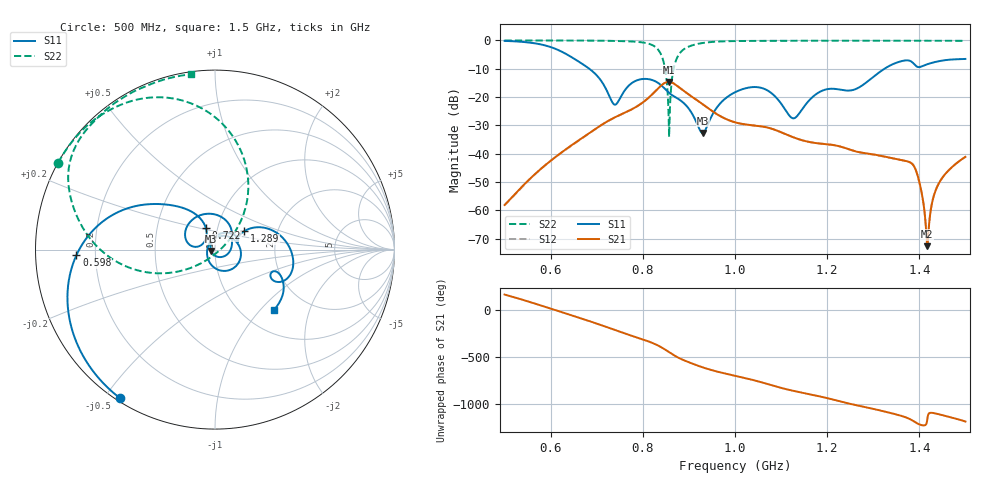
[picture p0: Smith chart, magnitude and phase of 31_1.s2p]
! TOUCHSTONE file generated by CST MICROWAVE STUDIO
! Date and time: Fri Oct  2 18:06:46 2020
! Project name: Scenario_1_Free_Space_out_of_line.cst
! Parameters = {Lambda=346.42; Step_1=17.321; dy1=-172.59; dx1=173; L_HA=400; MT=2.54; Rad_Dielectric=30; Rad_Lower=7.3; Rad_Upper=30; a_HA=580; a_WG=246; b_HA=500; b_WG=121; c_HA=0; c_WG=187; d_feed=85; h_feed=15; h_lower=18; h_upper=40}
! Header version: 2018
! Port assignment regex: !\s*Touchstone port\s*([0-9]+)\s*=\s*(CST MWS port|CST DS port)\s*([0-9]+|Zmin|Zmax)\s*\(\"(.*)\"\)(\s*mode\s*([0-9]+))?.*
! Touchstone port assignment:
! Touchstone port 1 = CST MWS port 1 ("")
! Touchstone port 2 = CST MWS port 2 ("")
# GHz S DB R 50
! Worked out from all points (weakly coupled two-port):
!   1003 points, 500 MHz to 1.5 GHz, reference 50 ohm
!   highest |S21| = -14.64 dB at 856 MHz (marker M1); lowest = -72.7 dB at 1.417 GHz (marker M2)
!   lowest |S11| = -32.7 dB at 930 MHz (marker M3), VSWR 1.05, Z = 47.9 - j0.753 ohm
!   |S11| at or under -10 dB: 683.8 MHz to 1.324 GHz (640.6 MHz wide, 63.8 % of centre)
!   |S22| runs from -34.1 to 0.0 dB; largest |S21 - S12| = 0.0026
!   S11 on the Smith chart (normalised r, x): 500 MHz: 0.01, -0.55; 598 MHz: 0.13, -0.02; 722 MHz: 0.88, +0.21; 1.289 GHz: 1.35, +0.29; 1.5 GHz: 1.39, -1.20
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0.5  -0.16 -122.7  -58.15 158.9  -58.19 158.9  -0.01 151.1
0.598  -2.24 -177.7  -42.77 13.3  -42.71 13.7  -0.02 144.2
0.667  -8.12 139.8  -34.59 -95.3  -34.74 -95.2  -0.04 138.2
0.722  -17.79 113.1  -28.68 173.6  -28.71 173.8  -0.13 131.8
0.74  -22.69 146.9  -27.11 142.1  -27.17 142.2  -0.18 129.1
0.784  -14.31 149.4  -23.61 69.5  -23.60 69.5  -0.45 119.2
0.834  -15.10 71.1  -16.82 -23.2  -16.83 -22.9  -3.45 84.0
0.846  -16.81 50.9  -15.16 -56.8  -15.11 -56.3  -8.22 61.4
0.856  -18.39 37.4  -14.64 -88.7  -14.53 -88.6  -27.22 16.1
0.877  -20.66 8.2  -16.37 -149.5  -16.36 -149.7  -5.28 -172.4
0.93  -32.72 -160.1  -22.56 107.7  -22.57 107.6  -0.90 155.1
1  -18.31 25.9  -28.91 19.3  -28.92 19.5  -0.22 140.1
1.065  -17.21 -57.2  -30.57 -60.9  -30.55 -61.1  -0.15 132.7
1.126  -27.52 167.9  -34.18 -140.0  -34.18 -140.0  -0.11 127.4
1.167  -20.18 67.8  -36.04 178.2  -36.04 178.1  -0.09 124.0
1.289  -14.34 32.3  -39.97 41.4  -40.01 41.2  -0.09 114.7
1.334  -9.07 16.0  -41.36 -10.7  -41.40 -10.8  -0.10 111.4
1.39  -8.57 -27.9  -44.92 -108.9  -44.78 -109.7  -0.09 107.1
1.404  -9.25 -20.7  -52.87 -142.7  -53.07 -140.8  -0.10 105.9
1.417  -8.42 -20.4  -72.67 -93.0  -72.40 -90.1  -0.10 104.9
1.442  -7.35 -27.1  -50.61 -28.2  -50.51 -28.2  -0.10 102.8
1.5  -6.53 -45.5  -41.13 -105.3  -41.14 -105.3  -0.13 97.7
